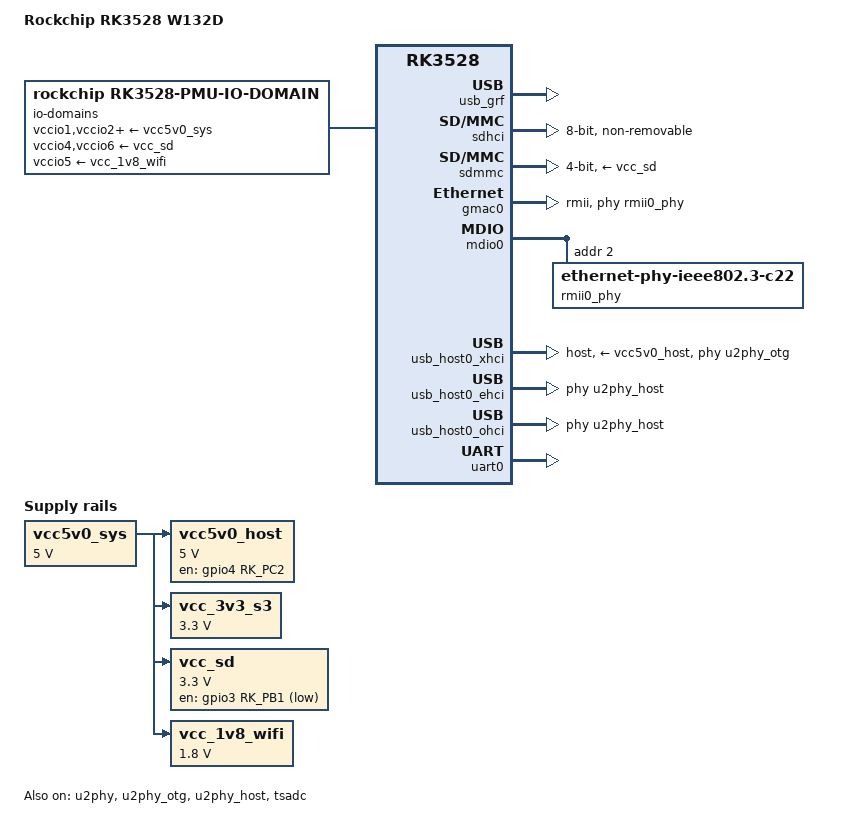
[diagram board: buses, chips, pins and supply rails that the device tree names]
// SPDX-License-Identifier: (GPL-2.0+ OR MIT)
/dts-v1/;
#include <dt-bindings/gpio/gpio.h>
#include <dt-bindings/input/input.h>
#include <dt-bindings/phy/phy.h>
#include <dt-bindings/pinctrl/rockchip.h>
#include "rk3528.dtsi"

/ {
	model = "Rockchip RK3528 W132D";
	compatible = "rockchip,rk3528-w132d", "rockchip,rk3528";

	aliases {
		ethernet0 = &gmac0;
		mmc0 = &sdmmc;
		mmc1 = &sdhci;
		serial0 = &uart0;
	};

	chosen {
		stdout-path = "serial0:1500000n8";
		bootargs = "earlycon=uart8250,mmio32,0xff9f0000 console=ttyS0,1500000";
	};

	vcc5v0_sys: vcc5v0-sys {
		compatible = "regulator-fixed";
		regulator-name = "vcc5v0_sys";
		regulator-always-on;
		regulator-boot-on;
		regulator-min-microvolt = <5000000>;
		regulator-max-microvolt = <5000000>;
	};

	vcc5v0_host: vcc5v0-host {
		compatible = "regulator-fixed";
		regulator-name = "vcc5v0_host";
		regulator-always-on;
		regulator-boot-on;
		regulator-min-microvolt = <5000000>;
		regulator-max-microvolt = <5000000>;
		enable-active-high;
		gpio = <&gpio4 RK_PC2 GPIO_ACTIVE_HIGH>;
		vin-supply = <&vcc5v0_sys>;
		pinctrl-names = "default";
		pinctrl-0 = <&vcc5v0_host_en>;
	};

	vcc_3v3_s3: vcc-3v3-s3 {
		compatible = "regulator-fixed";
		regulator-name = "vcc_3v3_s3";
		regulator-always-on;
		regulator-boot-on;
		regulator-min-microvolt = <3300000>;
		regulator-max-microvolt = <3300000>;
		vin-supply = <&vcc5v0_sys>;
	};

	vcc_sd: vcc-sd {
		compatible = "regulator-fixed";
		regulator-name = "vcc_sd";
		regulator-min-microvolt = <3300000>;
		regulator-max-microvolt = <3300000>;
		regulator-always-on;
		regulator-boot-on;
		enable-active-low;
		gpio = <&gpio3 RK_PB1 GPIO_ACTIVE_LOW>;
		vin-supply = <&vcc5v0_sys>;
	};

	vcc_1v8_wifi: vcc-1v8-wifi {
		compatible = "regulator-fixed";
		regulator-name = "vcc_1v8_wifi";
		regulator-min-microvolt = <1800000>;
		regulator-max-microvolt = <1800000>;
		regulator-always-on;
		vin-supply = <&vcc5v0_sys>;
	};

	io-domains {
		compatible = "rockchip,rk3528-pmu-io-domain";
		vccio1-supply = <&vcc5v0_sys>;
		vccio2-supply = <&vcc5v0_sys>;
		vccio3-supply = <&vcc5v0_sys>;
		vccio4-supply = <&vcc_sd>;
		vccio5-supply = <&vcc_1v8_wifi>;
		vccio6-supply = <&vcc_sd>;
		vccio7-supply = <&vcc5v0_sys>;
		status = "okay";
	};

	/*
	 * Minimal syscon for GRF at ff300000. The 6.12 dtsi points rockchip,usbgrf
	 * to &vo_grf (ff360000), but USB2 PHY control registers are in the plain
	 * GRF at ff300000 (confirmed by 6.1 working DTS).
	 */
	usb_grf: syscon@ff300000 {
		compatible = "rockchip,rk3528-grf", "syscon";
		reg = <0x0 0xff300000 0x0 0x90000>;
	};
};

&sdhci {
	bus-width = <8>;
	non-removable;
	max-frequency = <200000000>;
	status = "okay";
};

&sdmmc {
	bus-width = <4>;
	cap-sd-highspeed;
	disable-wp;
	max-frequency = <150000000>;
	no-1-8-v;
	vmmc-supply = <&vcc_sd>;
	vqmmc-supply = <&vcc_sd>;
	pinctrl-names = "default";
	pinctrl-0 = <&sdmmc_bus4 &sdmmc_clk &sdmmc_cmd &sdmmc_det>;
	status = "okay";
};

&gmac0 {
	phy-mode = "rmii";
	phy-handle = <&rmii0_phy>;
	clock_in_out = "input";
	status = "okay";
};

&mdio0 {
	rmii0_phy: ethernet-phy@2 {
		compatible = "ethernet-phy-ieee802.3-c22";
		reg = <2>;
		clocks = <&cru 0x122>;
		phy-is-integrated;
		resets = <&cru 0xb8>;
	};
};

/*
 * USB: u2phy-only, no combphy.
 * /delete-property/ power-domains avoids SError on PMU regmap access.
 * rockchip,usbgrf corrected from &vo_grf to &usb_grf (ff300000).
 */
&u2phy {
	/delete-property/ power-domains;
	/delete-property/ rockchip,usbgrf;
	rockchip,usbgrf = <&usb_grf>;
	status = "okay";
};

&u2phy_otg {
	vbus-supply = <&vcc5v0_host>;
	status = "okay";
};

&u2phy_host {
	phy-supply = <&vcc5v0_host>;
	status = "okay";
};

&usb_host0_xhci {
	/delete-property/ power-domains;
	dr_mode = "host";
	phys = <&u2phy_otg>;
	phy-names = "usb2-phy";
	maximum-speed = "high-speed";
	vbus-supply = <&vcc5v0_host>;
	snps,dis_u2_susphy_quirk;
	snps,usb2-lpm-disable;
	snps,dis-del-phy-power-chg-quirk;
	snps,tx-fifo-resize;
	status = "okay";
};

&usb_host0_ehci {
	/delete-property/ power-domains;
	phys = <&u2phy_host>;
	phy-names = "usb";
	status = "okay";
};

&usb_host0_ohci {
	/delete-property/ power-domains;
	phys = <&u2phy_host>;
	phy-names = "usb";
	status = "okay";
};

&uart0 {
	pinctrl-names = "default";
	pinctrl-0 = <&uart0m0_xfer>;
	status = "okay";
};

&tsadc { status = "okay"; };

&threshold { temperature = <75000>; };
&target { temperature = <85000>; };
&soc_crit { temperature = <100000>; };

&pinctrl {
	usb {
		vcc5v0_host_en: vcc5v0-host-en {
			rockchip,pins = <4 RK_PC2 RK_FUNC_GPIO &pcfg_pull_none>;
		};
	};
};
